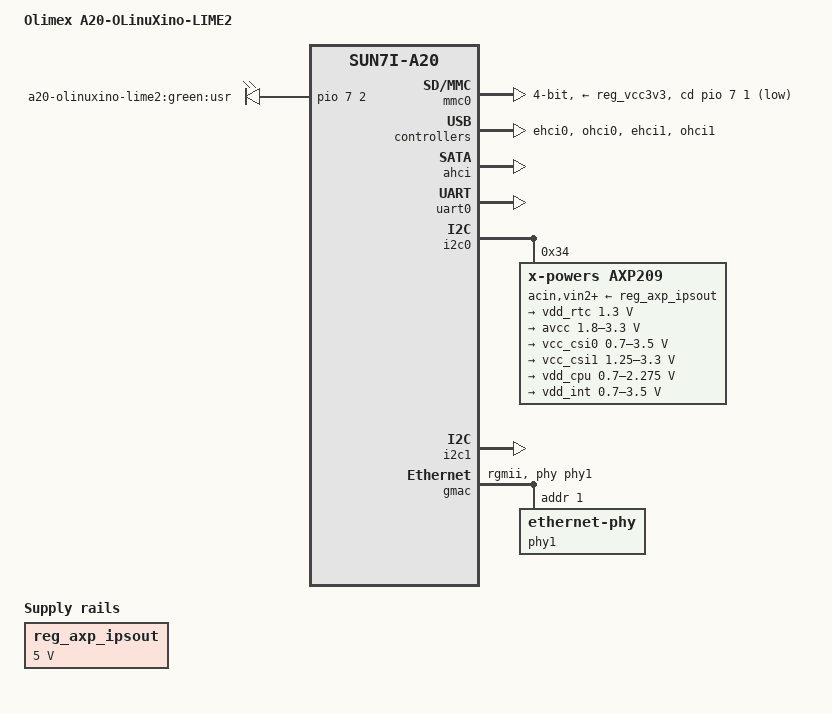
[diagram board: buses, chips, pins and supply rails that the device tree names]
/*
 * Copyright 2014 - Iain Paton <ipaton0@gmail.com>
 *
 * This file is dual-licensed: you can use it either under the terms
 * of the GPL or the X11 license, at your option. Note that this dual
 * licensing only applies to this file, and not this project as a
 * whole.
 *
 *  a) This library is free software; you can redistribute it and/or
 *     modify it under the terms of the GNU General Public License as
 *     published by the Free Software Foundation; either version 2 of the
 *     License, or (at your option) any later version.
 *
 *     This library is distributed in the hope that it will be useful,
 *     but WITHOUT ANY WARRANTY; without even the implied warranty of
 *     MERCHANTABILITY or FITNESS FOR A PARTICULAR PURPOSE.  See the
 *     GNU General Public License for more details.
 *
 *     You should have received a copy of the GNU General Public
 *     License along with this library; if not, write to the Free
 *     Software Foundation, Inc., 51 Franklin St, Fifth Floor, Boston,
 *     MA 02110-1301 USA
 *
 * Or, alternatively,
 *
 *  b) Permission is hereby granted, free of charge, to any person
 *     obtaining a copy of this software and associated documentation
 *     files (the "Software"), to deal in the Software without
 *     restriction, including without limitation the rights to use,
 *     copy, modify, merge, publish, distribute, sublicense, and/or
 *     sell copies of the Software, and to permit persons to whom the
 *     Software is furnished to do so, subject to the following
 *     conditions:
 *
 *     The above copyright notice and this permission notice shall be
 *     included in all copies or substantial portions of the Software.
 *
 *     THE SOFTWARE IS PROVIDED "AS IS", WITHOUT WARRANTY OF ANY KIND,
 *     EXPRESS OR IMPLIED, INCLUDING BUT NOT LIMITED TO THE WARRANTIES
 *     OF MERCHANTABILITY, FITNESS FOR A PARTICULAR PURPOSE AND
 *     NONINFRINGEMENT. IN NO EVENT SHALL THE AUTHORS OR COPYRIGHT
 *     HOLDERS BE LIABLE FOR ANY CLAIM, DAMAGES OR OTHER LIABILITY,
 *     WHETHER IN AN ACTION OF CONTRACT, TORT OR OTHERWISE, ARISING
 *     FROM, OUT OF OR IN CONNECTION WITH THE SOFTWARE OR THE USE OR
 *     OTHER DEALINGS IN THE SOFTWARE.
 */

/dts-v1/;
/include/ "sun7i-a20.dtsi"
/include/ "sunxi-common-regulators.dtsi"

/ {
	model = "Olimex A20-OLinuXino-LIME2";
	compatible = "olimex,a20-olinuxino-lime2", "allwinner,sun7i-a20";

	soc@01c00000 {
		mmc0: mmc@01c0f000 {
			pinctrl-names = "default";
			pinctrl-0 = <&mmc0_pins_a>, <&mmc0_cd_pin_reference_design>;
			vmmc-supply = <&reg_vcc3v3>;
			bus-width = <4>;
			cd-gpios = <&pio 7 1 0>; /* PH1 */
			cd-inverted;
			status = "okay";
		};

		usbphy: phy@01c13400 {
			usb1_vbus-supply = <&reg_usb1_vbus>;
			usb2_vbus-supply = <&reg_usb2_vbus>;
			status = "okay";
		};

		ehci0: usb@01c14000 {
			status = "okay";
		};

		ohci0: usb@01c14400 {
			status = "okay";
		};

		ahci: sata@01c18000 {
			target-supply = <&reg_ahci_5v>;
			status = "okay";
		};

		ehci1: usb@01c1c000 {
			status = "okay";
		};

		ohci1: usb@01c1c400 {
			status = "okay";
		};

		pinctrl@01c20800 {
			ahci_pwr_pin_olinuxinolime: ahci_pwr_pin@1 {
				allwinner,pins = "PC3";
				allwinner,function = "gpio_out";
				allwinner,drive = <0>;
				allwinner,pull = <0>;
			};

			led_pins_olinuxinolime: led_pins@0 {
				allwinner,pins = "PH2";
				allwinner,function = "gpio_out";
				allwinner,drive = <1>;
				allwinner,pull = <0>;
			};
		};

		uart0: serial@01c28000 {
			pinctrl-names = "default";
			pinctrl-0 = <&uart0_pins_a>;
			status = "okay";
		};

		i2c0: i2c@01c2ac00 {
			pinctrl-names = "default";
			pinctrl-0 = <&i2c0_pins_a>;
			status = "okay";

			axp209: pmic@34 {
				compatible = "x-powers,axp209";
				reg = <0x34>;
				interrupt-parent = <&nmi_intc>;
				interrupts = <0 8>;

				interrupt-controller;
				#interrupt-cells = <1>;

				acin-supply = <&reg_axp_ipsout>;
				vin2-supply = <&reg_axp_ipsout>;
				vin3-supply = <&reg_axp_ipsout>;
				ldo24in-supply = <&reg_axp_ipsout>;
				ldo3in-supply = <&reg_axp_ipsout>;

				regulators {
					vdd_rtc: ldo1 {
						regulator-min-microvolt = <1300000>;
						regulator-max-microvolt = <1300000>;
						regulator-always-on;
					};

					avcc: ldo2 {
						regulator-min-microvolt = <1800000>;
						regulator-max-microvolt = <3300000>;
						regulator-always-on;
					};

					vcc_csi0: ldo3 {
						regulator-min-microvolt = <700000>;
						regulator-max-microvolt = <3500000>;
						regulator-always-on;
					};

					vcc_csi1: ldo4 {
						regulator-min-microvolt = <1250000>;
						regulator-max-microvolt = <3300000>;
						regulator-always-on;
					};

					vdd_cpu: dcdc2 {
						regulator-min-microvolt = <700000>;
						regulator-max-microvolt = <2275000>;
						regulator-always-on;
					};

					vdd_int: dcdc3 {
						regulator-min-microvolt = <700000>;
						regulator-max-microvolt = <3500000>;
						regulator-always-on;
					};
				};
			};
		};

		i2c1: i2c@01c2b000 {
			pinctrl-names = "default";
			pinctrl-0 = <&i2c1_pins_a>;
			status = "okay";
		};

		gmac: ethernet@01c50000 {
			pinctrl-names = "default";
			pinctrl-0 = <&gmac_pins_rgmii_a>;
			phy = <&phy1>;
			phy-mode = "rgmii";
			status = "okay";

			phy1: ethernet-phy@1 {
				reg = <1>;
			};
		};
	};

	leds {
		compatible = "gpio-leds";
		pinctrl-names = "default";
		pinctrl-0 = <&led_pins_olinuxinolime>;

		green {
			label = "a20-olinuxino-lime2:green:usr";
			gpios = <&pio 7 2 0>;
			default-state = "on";
		};
	};

	reg_ahci_5v: ahci-5v {
		pinctrl-0 = <&ahci_pwr_pin_olinuxinolime>;
		gpio = <&pio 2 3 0>;
		status = "okay";
	};

	reg_usb1_vbus: usb1-vbus {
		status = "okay";
	};

	reg_usb2_vbus: usb2-vbus {
		status = "okay";
	};

	reg_axp_ipsout: axp_ipsout {
		compatible = "regulator-fixed";
		regulator-name = "axp-ipsout";
		regulator-min-microvolt = <5000000>;
		regulator-max-microvolt = <5000000>;
		regulator-always-on;
	};
};
